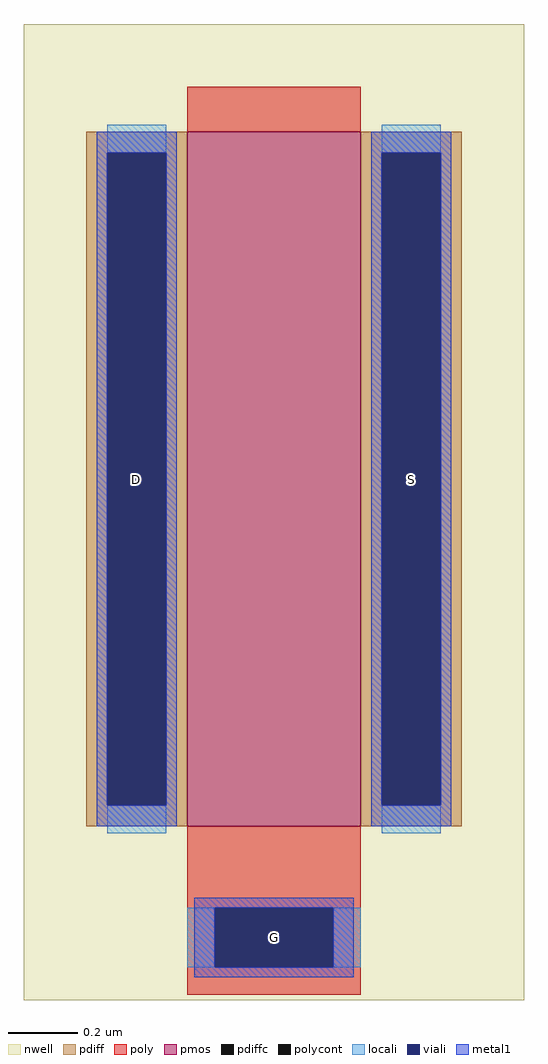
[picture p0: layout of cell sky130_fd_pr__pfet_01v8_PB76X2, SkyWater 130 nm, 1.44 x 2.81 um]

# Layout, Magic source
magic
tech sky130A
magscale 1 2
<< nwell >>
rect -144 -264 144 298
<< pmos >>
rect -50 -164 50 236
<< pdiff >>
rect -108 224 -50 236
rect -108 -152 -96 224
rect -62 -152 -50 224
rect -108 -164 -50 -152
rect 50 224 108 236
rect 50 -152 62 224
rect 96 -152 108 224
rect 50 -164 108 -152
<< pdiffc >>
rect -96 -152 -62 224
rect 62 -152 96 224
<< poly >>
rect -50 236 50 262
rect -50 -211 50 -164
rect -50 -245 -34 -211
rect 34 -245 50 -211
rect -50 -261 50 -245
<< polycont >>
rect -34 -245 34 -211
<< locali >>
rect -96 224 -62 240
rect -96 -168 -62 -152
rect 62 224 96 240
rect 62 -168 96 -152
rect -50 -245 -34 -211
rect 34 -245 50 -211
<< viali >>
rect -96 -152 -62 224
rect 62 -152 96 224
rect -34 -245 34 -211
<< metal1 >>
rect -102 224 -56 236
rect -102 -152 -96 224
rect -62 -152 -56 224
rect -102 -164 -56 -152
rect 56 224 102 236
rect 56 -152 62 224
rect 96 -152 102 224
rect 56 -164 102 -152
rect -46 -211 46 -205
rect -46 -245 -34 -211
rect 34 -245 46 -211
rect -46 -251 46 -245
<< labels >>
rlabel pdiffc -79 36 -79 36 0 D
port 1 nsew
rlabel pdiffc 79 36 79 36 0 S
port 2 nsew
rlabel polycont 0 -228 0 -228 0 G
port 3 nsew
<< properties >>
string gencell sky130_fd_pr__pfet_01v8
string library sky130
string parameters w 2 l 0.5 m 1 nf 1 diffcov 100 polycov 100 guard 0 glc 1 grc 1 gtc 1 gbc 1 tbcov 100 rlcov 100 topc 0 botc 1 poverlap 0 doverlap 1 lmin 0.15 wmin 0.42 class mosfet compatible {sky130_fd_pr__pfet_01v8  sky130_fd_pr__pfet_01v8_lvt sky130_fd_pr__pfet_01v8_hvt  sky130_fd_pr__pfet_g5v0d10v5} full_metal 1 conn_gates 0 viasrc 100 viadrn 100 viagate 100 viagb 0 viagr 0 viagl 0 viagt 0 doports 1
<< end >>
